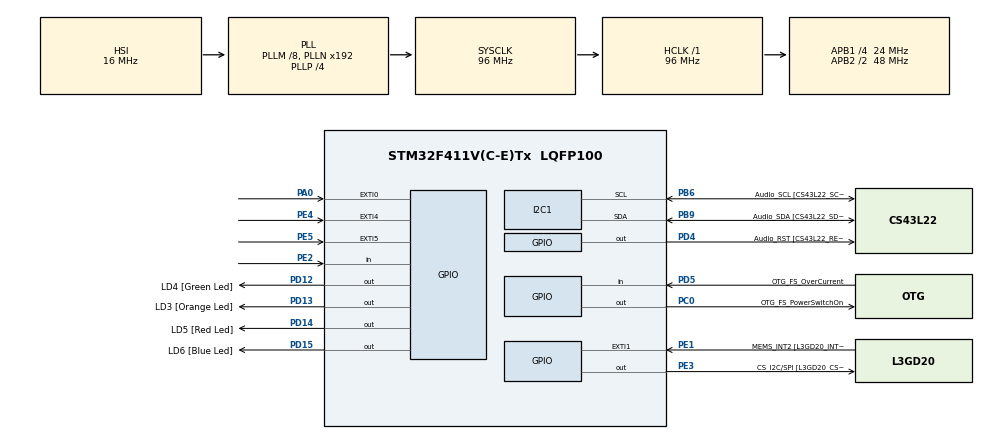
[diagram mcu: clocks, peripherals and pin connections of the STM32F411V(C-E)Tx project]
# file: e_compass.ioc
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Mcu.Family=STM32F4
Mcu.Name=STM32F411V(C-E)Tx
Mcu.Package=LQFP100
NVIC.PriorityGroup=NVIC_PRIORITYGROUP_0
PA0-WKUP.GPIO_ModeDefaultEXTI=GPIO_MODE_EVT_RISING
PA0-WKUP.Signal=GPXTI0
PA10.GPIO_Label=OTG_FS_ID
PA10.Signal=USB_OTG_FS_ID
PA11.GPIO_Label=OTG_FS_DM
PA11.Signal=USB_OTG_FS_DM
PA12.GPIO_Label=OTG_FS_DP
PA12.Signal=USB_OTG_FS_DP
PA13.GPIO_Label=SWDIO
PA13.Signal=SYS_JTMS-SWDIO
PA14.GPIO_Label=SWCLK
PA14.Signal=SYS_JTCK-SWCLK
PA4.GPIO_Label=I2S3_WS [CS43L22_LRCK]
PA4.GPIO_Mode=GPIO_MODE_AF_PP
PA4.GPIO_PuPd=GPIO_NOPULL
PA4.GPIO_Speed=GPIO_SPEED_FREQ_LOW
PA4.Signal=I2S3_WS
PA5.GPIO_Label=SPI1_SCK [L3GD20_SC/SPC]
PA5.Signal=SPI1_SCK
PA6.GPIO_Label=SPI1_MISO [L3GD20_AS0/SDO]
PA6.Signal=SPI1_MISO
PA7.GPIO_Label=SPI1_MOSI [L3GD20_SDA/SDI/SDO]
PA7.Signal=SPI1_MOSI
PA9.GPIO_Label=VBUS_FS
PA9.Signal=USB_OTG_FS_VBUS
PB10.GPIO_Label=CLK_IN [MP45DT02_CLK]
PB10.Signal=I2S2_CK
PB12.Signal=I2S2_WS
PB3.GPIO_Label=SWO
PB3.Signal=SYS_JTDO-SWO
PB6.GPIO_Label=Audio_SCL [CS43L22_SCL]
PB6.GPIO_Mode=GPIO_MODE_AF_OD
PB6.GPIO_PuPd=GPIO_NOPULL
PB6.GPIO_Speed=GPIO_SPEED_FREQ_LOW
PB6.Mode=I2C
PB6.Signal=I2C1_SCL
PB9.GPIO_Label=Audio_SDA [CS43L22_SDA]
PB9.GPIO_Mode=GPIO_MODE_AF_OD
PB9.GPIO_PuPd=GPIO_NOPULL
PB9.GPIO_Speed=GPIO_SPEED_FREQ_LOW
PB9.Mode=I2C
PB9.Signal=I2C1_SDA
PC0.GPIO_Label=OTG_FS_PowerSwitchOn
PC0.PinState=GPIO_PIN_SET
PC0.Signal=GPIO_Output
PC10.GPIO_Label=I2S3_SCK [CS43L22_SCLK]
PC10.GPIO_Mode=GPIO_MODE_AF_PP
PC10.GPIO_PuPd=GPIO_NOPULL
PC10.GPIO_Speed=GPIO_SPEED_FREQ_LOW
PC10.Signal=I2S3_CK
PC12.GPIO_Label=I2S3_SD [CS43L22_SDIN]
PC12.GPIO_Mode=GPIO_MODE_AF_PP
PC12.GPIO_PuPd=GPIO_NOPULL
PC12.GPIO_Speed=GPIO_SPEED_FREQ_LOW
PC12.Signal=I2S3_SD
PC14-OSC32_IN.GPIO_Label=PC14-OSC32_IN
PC14-OSC32_IN.Signal=RCC_OSC32_IN
PC15-OSC32_OUT.GPIO_Label=PC15-OSC32_OUT
PC15-OSC32_OUT.Signal=RCC_OSC32_OUT
PC3.GPIO_Label=PDM_OUT [MP45DT02_DOUT]
PC3.Signal=I2S2_SD
PC7.GPIO_Label=I2S3_MCK [CS43L22_MCLK]
PC7.GPIO_Mode=GPIO_MODE_AF_PP
PC7.GPIO_PuPd=GPIO_NOPULL
PC7.GPIO_Speed=GPIO_SPEED_FREQ_LOW
PC7.Signal=I2S3_MCK
PD12.GPIO_Label=LD4 [Green Led]
PD12.GPIO_PuPd=GPIO_NOPULL
PD12.GPIO_Speed=GPIO_SPEED_FREQ_LOW
PD12.Signal=GPIO_Output
PD13.GPIO_Label=LD3 [Orange Led]
PD13.GPIO_PuPd=GPIO_NOPULL
PD13.GPIO_Speed=GPIO_SPEED_FREQ_LOW
PD13.Signal=GPIO_Output
PD14.GPIO_Label=LD5 [Red Led]
PD14.GPIO_PuPd=GPIO_NOPULL
PD14.GPIO_Speed=GPIO_SPEED_FREQ_LOW
PD14.Signal=GPIO_Output
PD15.GPIO_Label=LD6 [Blue Led]
PD15.GPIO_PuPd=GPIO_NOPULL
PD15.GPIO_Speed=GPIO_SPEED_FREQ_LOW
PD15.Signal=GPIO_Output
PD4.GPIO_Label=Audio_RST [CS43L22_RESET]
PD4.Signal=GPIO_Output
PD5.GPIO_Label=OTG_FS_OverCurrent
PD5.Signal=GPIO_Input
PE1.GPIO_Label=MEMS_INT2 [L3GD20_INT2]
PE1.GPIO_ModeDefaultEXTI=GPIO_MODE_EVT_RISING
PE1.Signal=GPXTI1
PE2.Signal=GPIO_Input
PE3.GPIO_Label=CS_I2C/SPI [L3GD20_CS_I2C/SPI]
PE3.Signal=GPIO_Output
PE4.GPIO_ModeDefaultEXTI=GPIO_MODE_EVT_RISING
PE4.Signal=GPXTI4
PE5.GPIO_ModeDefaultEXTI=GPIO_MODE_EVT_RISING
PE5.Signal=GPXTI5
PH0\ -\ OSC_IN.GPIO_Label=PH0-OSC_IN
PH0\ -\ OSC_IN.Signal=RCC_OSC_IN
PH1\ -\ OSC_OUT.GPIO_Label=PH1-OSC_OUT
PH1\ -\ OSC_OUT.Signal=RCC_OSC_OUT
ProjectManager.HeapSize=0x200
ProjectManager.StackSize=0x400
ProjectManager.TargetToolchain=STM32CubeIDE
RCC.48MHZClocksFreq_Value=48000000
RCC.AHBFreq_Value=96000000
RCC.APB1CLKDivider=RCC_HCLK_DIV4
RCC.APB1Freq_Value=24000000
RCC.APB1TimFreq_Value=48000000
RCC.APB2CLKDivider=RCC_HCLK_DIV2
RCC.APB2Freq_Value=48000000
RCC.APB2TimFreq_Value=96000000
RCC.CortexFreq_Value=96000000
RCC.HCLKFreq_Value=96000000
RCC.HSE_VALUE=8000000
RCC.HSI_VALUE=16000000
RCC.LSE_VALUE=32768
RCC.PLLI2SM=5
RCC.PLLI2SN=200
RCC.PLLM=8
RCC.PLLP=RCC_PLLP_DIV4
RCC.PLLQ=8
RCC.SYSCLKFreq_VALUE=96000000
RCC.SYSCLKSource=RCC_SYSCLKSOURCE_PLLCLK
RCC.VCOOutputFreq_Value=384000000
board=STM32F411E-DISCO

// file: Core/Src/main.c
/* USER CODE BEGIN Header */
/**
  ******************************************************************************
  * @file           : main.c
  * @brief          : Main program body
  ******************************************************************************
  * @attention
  *
  * Copyright (c) 2024 STMicroelectronics.
  * All rights reserved.
  *
  * This software is licensed under terms that can be found in the LICENSE file
  * in the root directory of this software component.
  * If no LICENSE file comes with this software, it is provided AS-IS.
  *
  ******************************************************************************
  */
/* USER CODE END Header */
#include "main.h"

/* USER CODE BEGIN Includes */
#include "stdio.h"
#include <math.h>

/* USER CODE END Includes */

/* USER CODE BEGIN PTD */
int16_t x,y;
float xf,yf;

/* USER CODE END PTD */

I2C_HandleTypeDef hi2c1;

void SystemClock_Config(void);
static void MX_GPIO_Init(void);
static void MX_I2C1_Init(void);
/* USER CODE BEGIN PFP */
extern void initialise_monitor_handles(void);
/* USER CODE END PFP */

int main(void)
{

  /* USER CODE BEGIN 1 */
  	initialise_monitor_handles();
	printf("Hello World!\n");
  /* USER CODE END 1 */

  /* MCU Configuration--------------------------------------------------------*/

  /* Reset of all peripherals, Initializes the Flash interface and the Systick. */
  HAL_Init();

  /* Configure the system clock */
  SystemClock_Config();

  /* Initialize all configured peripherals */
  MX_GPIO_Init();
  MX_I2C1_Init();
  /* USER CODE BEGIN 2 */
  uint8_t i2c_rx_buf[2];
  uint8_t i2c_ry_buf[2];

  uint8_t WHO_AM_I_reg = 0x4F;
//LSM303AGR
  uint8_t MAG_I2C_ADDR = 0b0011110 << 1; //1E
  //uint8_t ACC_I2C_ADDR = 0b0011001 << 1;

  uint8_t bytes_to_receive = 1;

  HAL_I2C_Mem_Read(&hi2c1, MAG_I2C_ADDR, WHO_AM_I_reg, 1,i2c_rx_buf, bytes_to_receive, 50);

  printf("WHO_AM_I_A: 0x%02X\n", i2c_rx_buf[0]); //chcemy 0b01000000

// ------------------------------------------------------- //
  //  settings: mode continuous, 20Hz, temp comp
    	uint8_t i2c_tx_buf[2];
    	i2c_tx_buf[0] = 1 << 7 | 0 << 6 | 0 << 5 | 0 << 4 | 0 << 3 | 1 << 2 | 0 << 1 | 0;
  	uint8_t magnetometer_i2c_cfg_reg1 = 0x60;
      HAL_I2C_Mem_Write(&hi2c1, MAG_I2C_ADDR, magnetometer_i2c_cfg_reg1, 1, i2c_tx_buf, 1, 50);
  //    HAL_I2C_Mem_Read(&hi2c1, magnetometer_i2c_addr, magnetometer_i2c_cfg_reg1, 1, i2c_rx_buf, 1, 50);
  //    printf("Read: 0x%02X \n", i2c_rx_buf[0]); //0b10000100

  // conf: offset canc, lpf
      i2c_tx_buf[0] = 0 << 7 | 0 << 6 | 0 << 5 | 0 << 4 | 0 << 3 | 0 << 2 | 1 << 1 | 1;
    	uint8_t magnetometer_i2c_cfg_reg2 = 0x61;
      HAL_I2C_Mem_Write(&hi2c1, MAG_I2C_ADDR, magnetometer_i2c_cfg_reg2, 1, i2c_tx_buf, 1, 50);
  //    HAL_I2C_Mem_Read(&hi2c1, magnetometer_i2c_addr, magnetometer_i2c_cfg_reg2, 1, i2c_rx_buf, 1, 50);
  //    printf("Read: 0x%02X \n", i2c_rx_buf[0]); //0b0000011

  /* USER CODE END 2 */

  /* Infinite loop */
  /* USER CODE BEGIN WHILE */
  	uint8_t magnetometer_i2c_outx_h = 0x69;
  	uint8_t magnetometer_i2c_outx_l = 0x68;
  	uint8_t magnetometer_i2c_outy_h = 0x6B;
  	uint8_t magnetometer_i2c_outy_l = 0x6A;
	uint8_t x_h = 0;
	uint8_t x_l = 0;
	uint8_t y_h = 0;
	uint8_t y_l = 0;

	while (1)
	{
	    HAL_I2C_Mem_Read(&hi2c1, MAG_I2C_ADDR, magnetometer_i2c_outx_h, 1, i2c_rx_buf, 1, 50);
	    x_h = i2c_rx_buf[0];
	    HAL_I2C_Mem_Read(&hi2c1, MAG_I2C_ADDR, magnetometer_i2c_outx_l, 1, i2c_rx_buf, 1, 50);
	    x_l = i2c_rx_buf[0];

	    HAL_I2C_Mem_Read(&hi2c1, MAG_I2C_ADDR, magnetometer_i2c_outy_h, 1, i2c_ry_buf, 1, 50);
	    y_h = i2c_ry_buf[0];
	    HAL_I2C_Mem_Read(&hi2c1, MAG_I2C_ADDR, magnetometer_i2c_outy_l, 1, i2c_ry_buf, 1, 50);
	    y_l = i2c_ry_buf[0];

	    int16_t x = (int16_t)((x_h << 8) | x_l);
	    int16_t y = (int16_t)((y_h << 8) | y_l);

	    float xf = (float)x * 1.5;
	    float yf = (float)y * 1.5;

	    float heading = atan2(yf, xf) * (180.0 / M_PI);
	    if (heading < 0)
	    {
	        heading += 360.0;
	    }

	    printf("Raw data - X: %.2f mG, Y: %.2f mG\n", xf, yf);
	    printf("Heading: %.2f degrees\n", heading);
	    HAL_Delay(500);

    /* USER CODE END WHILE */

  }
}

void SystemClock_Config(void)
{
  RCC_OscInitTypeDef RCC_OscInitStruct = {0};
  RCC_ClkInitTypeDef RCC_ClkInitStruct = {0};

  /** Configure the main internal regulator output voltage
  */
  __HAL_RCC_PWR_CLK_ENABLE();
  __HAL_PWR_VOLTAGESCALING_CONFIG(PWR_REGULATOR_VOLTAGE_SCALE1);

  /** Initializes the RCC Oscillators according to the specified parameters
  * in the RCC_OscInitTypeDef structure.
  */
  RCC_OscInitStruct.OscillatorType = RCC_OSCILLATORTYPE_HSI;
  RCC_OscInitStruct.HSIState = RCC_HSI_ON;
  RCC_OscInitStruct.HSICalibrationValue = RCC_HSICALIBRATION_DEFAULT;
  RCC_OscInitStruct.PLL.PLLState = RCC_PLL_ON;
  RCC_OscInitStruct.PLL.PLLSource = RCC_PLLSOURCE_HSI;
  RCC_OscInitStruct.PLL.PLLM = 8;
  RCC_OscInitStruct.PLL.PLLN = 192;
  RCC_OscInitStruct.PLL.PLLP = RCC_PLLP_DIV4;
  RCC_OscInitStruct.PLL.PLLQ = 8;
  if (HAL_RCC_OscConfig(&RCC_OscInitStruct) != HAL_OK)
  {
    Error_Handler();
  }

  /** Initializes the CPU, AHB and APB buses clocks
  */
  RCC_ClkInitStruct.ClockType = RCC_CLOCKTYPE_HCLK|RCC_CLOCKTYPE_SYSCLK
                              |RCC_CLOCKTYPE_PCLK1|RCC_CLOCKTYPE_PCLK2;
  RCC_ClkInitStruct.SYSCLKSource = RCC_SYSCLKSOURCE_PLLCLK;
  RCC_ClkInitStruct.AHBCLKDivider = RCC_SYSCLK_DIV1;
  RCC_ClkInitStruct.APB1CLKDivider = RCC_HCLK_DIV4;
  RCC_ClkInitStruct.APB2CLKDivider = RCC_HCLK_DIV2;

  if (HAL_RCC_ClockConfig(&RCC_ClkInitStruct, FLASH_LATENCY_3) != HAL_OK)
  {
    Error_Handler();
  }
}

static void MX_I2C1_Init(void)
{

  hi2c1.Instance = I2C1;
  hi2c1.Init.ClockSpeed = 100000;
  hi2c1.Init.DutyCycle = I2C_DUTYCYCLE_2;
  hi2c1.Init.OwnAddress1 = 0;
  hi2c1.Init.AddressingMode = I2C_ADDRESSINGMODE_7BIT;
  hi2c1.Init.DualAddressMode = I2C_DUALADDRESS_DISABLE;
  hi2c1.Init.OwnAddress2 = 0;
  hi2c1.Init.GeneralCallMode = I2C_GENERALCALL_DISABLE;
  hi2c1.Init.NoStretchMode = I2C_NOSTRETCH_DISABLE;
  if (HAL_I2C_Init(&hi2c1) != HAL_OK)
  {
    Error_Handler();
  }

}

static void MX_GPIO_Init(void)
{
  GPIO_InitTypeDef GPIO_InitStruct = {0};

  /* GPIO Ports Clock Enable */
  __HAL_RCC_GPIOE_CLK_ENABLE();
  __HAL_RCC_GPIOC_CLK_ENABLE();
  __HAL_RCC_GPIOH_CLK_ENABLE();
  __HAL_RCC_GPIOA_CLK_ENABLE();
  __HAL_RCC_GPIOB_CLK_ENABLE();
  __HAL_RCC_GPIOD_CLK_ENABLE();

  /*Configure GPIO pin Output Level */
  HAL_GPIO_WritePin(CS_I2C_SPI_GPIO_Port, CS_I2C_SPI_Pin, GPIO_PIN_RESET);

  /*Configure GPIO pin Output Level */
  HAL_GPIO_WritePin(OTG_FS_PowerSwitchOn_GPIO_Port, OTG_FS_PowerSwitchOn_Pin, GPIO_PIN_SET);

  /*Configure GPIO pin Output Level */
  HAL_GPIO_WritePin(GPIOD, LD4_Pin|LD3_Pin|LD5_Pin|LD6_Pin
                          |Audio_RST_Pin, GPIO_PIN_RESET);

  /*Configure GPIO pin : PE2 */
  GPIO_InitStruct.Pin = GPIO_PIN_2;
  GPIO_InitStruct.Mode = GPIO_MODE_INPUT;
  GPIO_InitStruct.Pull = GPIO_NOPULL;
  HAL_GPIO_Init(GPIOE, &GPIO_InitStruct);

  /*Configure GPIO pin : CS_I2C_SPI_Pin */
  GPIO_InitStruct.Pin = CS_I2C_SPI_Pin;
  GPIO_InitStruct.Mode = GPIO_MODE_OUTPUT_PP;
  GPIO_InitStruct.Pull = GPIO_NOPULL;
  GPIO_InitStruct.Speed = GPIO_SPEED_FREQ_LOW;
  HAL_GPIO_Init(CS_I2C_SPI_GPIO_Port, &GPIO_InitStruct);

  /*Configure GPIO pins : PE4 PE5 MEMS_INT2_Pin */
  GPIO_InitStruct.Pin = GPIO_PIN_4|GPIO_PIN_5|MEMS_INT2_Pin;
  GPIO_InitStruct.Mode = GPIO_MODE_EVT_RISING;
  GPIO_InitStruct.Pull = GPIO_NOPULL;
  HAL_GPIO_Init(GPIOE, &GPIO_InitStruct);

  /*Configure GPIO pin : OTG_FS_PowerSwitchOn_Pin */
  GPIO_InitStruct.Pin = OTG_FS_PowerSwitchOn_Pin;
  GPIO_InitStruct.Mode = GPIO_MODE_OUTPUT_PP;
  GPIO_InitStruct.Pull = GPIO_NOPULL;
  GPIO_InitStruct.Speed = GPIO_SPEED_FREQ_LOW;
  HAL_GPIO_Init(OTG_FS_PowerSwitchOn_GPIO_Port, &GPIO_InitStruct);

  /*Configure GPIO pin : PDM_OUT_Pin */
  GPIO_InitStruct.Pin = PDM_OUT_Pin;
  GPIO_InitStruct.Mode = GPIO_MODE_AF_PP;
  GPIO_InitStruct.Pull = GPIO_NOPULL;
  GPIO_InitStruct.Speed = GPIO_SPEED_FREQ_LOW;
  GPIO_InitStruct.Alternate = GPIO_AF5_SPI2;
  HAL_GPIO_Init(PDM_OUT_GPIO_Port, &GPIO_InitStruct);

  /*Configure GPIO pin : PA0 */
  GPIO_InitStruct.Pin = GPIO_PIN_0;
  GPIO_InitStruct.Mode = GPIO_MODE_EVT_RISING;
  GPIO_InitStruct.Pull = GPIO_NOPULL;
  HAL_GPIO_Init(GPIOA, &GPIO_InitStruct);

  /*Configure GPIO pin : I2S3_WS_Pin */
  GPIO_InitStruct.Pin = I2S3_WS_Pin;
  GPIO_InitStruct.Mode = GPIO_MODE_AF_PP;
  GPIO_InitStruct.Pull = GPIO_NOPULL;
  GPIO_InitStruct.Speed = GPIO_SPEED_FREQ_LOW;
  GPIO_InitStruct.Alternate = GPIO_AF6_SPI3;
  HAL_GPIO_Init(I2S3_WS_GPIO_Port, &GPIO_InitStruct);

  /*Configure GPIO pins : SPI1_SCK_Pin SPI1_MISO_Pin SPI1_MOSI_Pin */
  GPIO_InitStruct.Pin = SPI1_SCK_Pin|SPI1_MISO_Pin|SPI1_MOSI_Pin;
  GPIO_InitStruct.Mode = GPIO_MODE_AF_PP;
  GPIO_InitStruct.Pull = GPIO_NOPULL;
  GPIO_InitStruct.Speed = GPIO_SPEED_FREQ_VERY_HIGH;
  GPIO_InitStruct.Alternate = GPIO_AF5_SPI1;
  HAL_GPIO_Init(GPIOA, &GPIO_InitStruct);

  /*Configure GPIO pins : CLK_IN_Pin PB12 */
  GPIO_InitStruct.Pin = CLK_IN_Pin|GPIO_PIN_12;
  GPIO_InitStruct.Mode = GPIO_MODE_AF_PP;
  GPIO_InitStruct.Pull = GPIO_NOPULL;
  GPIO_InitStruct.Speed = GPIO_SPEED_FREQ_LOW;
  GPIO_InitStruct.Alternate = GPIO_AF5_SPI2;
  HAL_GPIO_Init(GPIOB, &GPIO_InitStruct);

  /*Configure GPIO pins : LD4_Pin LD3_Pin LD5_Pin LD6_Pin
                           Audio_RST_Pin */
  GPIO_InitStruct.Pin = LD4_Pin|LD3_Pin|LD5_Pin|LD6_Pin
                          |Audio_RST_Pin;
  GPIO_InitStruct.Mode = GPIO_MODE_OUTPUT_PP;
  GPIO_InitStruct.Pull = GPIO_NOPULL;
  GPIO_InitStruct.Speed = GPIO_SPEED_FREQ_LOW;
  HAL_GPIO_Init(GPIOD, &GPIO_InitStruct);

  /*Configure GPIO pins : I2S3_MCK_Pin I2S3_SCK_Pin I2S3_SD_Pin */
  GPIO_InitStruct.Pin = I2S3_MCK_Pin|I2S3_SCK_Pin|I2S3_SD_Pin;
  GPIO_InitStruct.Mode = GPIO_MODE_AF_PP;
  GPIO_InitStruct.Pull = GPIO_NOPULL;
  GPIO_InitStruct.Speed = GPIO_SPEED_FREQ_LOW;
  GPIO_InitStruct.Alternate = GPIO_AF6_SPI3;
  HAL_GPIO_Init(GPIOC, &GPIO_InitStruct);

  /*Configure GPIO pin : VBUS_FS_Pin */
  GPIO_InitStruct.Pin = VBUS_FS_Pin;
  GPIO_InitStruct.Mode = GPIO_MODE_INPUT;
  GPIO_InitStruct.Pull = GPIO_NOPULL;
  HAL_GPIO_Init(VBUS_FS_GPIO_Port, &GPIO_InitStruct);

  /*Configure GPIO pins : OTG_FS_ID_Pin OTG_FS_DM_Pin OTG_FS_DP_Pin */
  GPIO_InitStruct.Pin = OTG_FS_ID_Pin|OTG_FS_DM_Pin|OTG_FS_DP_Pin;
  GPIO_InitStruct.Mode = GPIO_MODE_AF_PP;
  GPIO_InitStruct.Pull = GPIO_NOPULL;
  GPIO_InitStruct.Speed = GPIO_SPEED_FREQ_VERY_HIGH;
  GPIO_InitStruct.Alternate = GPIO_AF10_OTG_FS;
  HAL_GPIO_Init(GPIOA, &GPIO_InitStruct);

  /*Configure GPIO pin : OTG_FS_OverCurrent_Pin */
  GPIO_InitStruct.Pin = OTG_FS_OverCurrent_Pin;
  GPIO_InitStruct.Mode = GPIO_MODE_INPUT;
  GPIO_InitStruct.Pull = GPIO_NOPULL;
  HAL_GPIO_Init(OTG_FS_OverCurrent_GPIO_Port, &GPIO_InitStruct);

}

void Error_Handler(void)
{
  __disable_irq();
  while (1)
  {
  }
}
